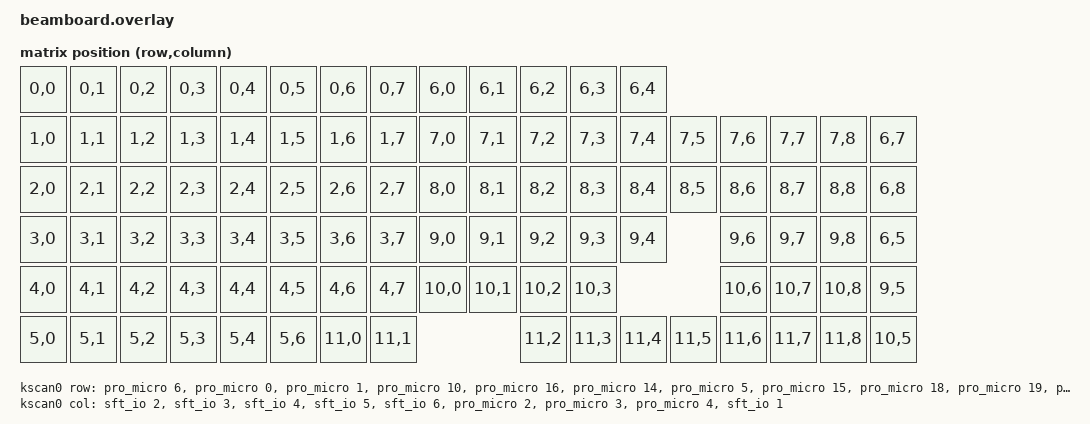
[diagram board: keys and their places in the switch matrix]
/*
 * Copyright (c) 2022 The ZMK Contributors
 *
 * SPDX-License-Identifier: MIT
 */

#include <dt-bindings/zmk/matrix_transform.h>
#include <dt-bindings/zmk/bt.h>

#include "beamboard.dtsi"

&spi0 {
    status = "okay";

    cs-gpios = <&pro_micro 7 GPIO_ACTIVE_LOW>, <&gpio1 7 GPIO_ACTIVE_HIGH>;
    pinctrl-0 = <&spi0_default>;
    pinctrl-1 = <&spi0_sleep>;
    pinctrl-names = "default", "sleep";

    sft_io: 595@0 {
        compatible = "zmk,gpio-595";
        status = "okay";
        gpio-controller;
        spi-max-frequency = <200000>;
        reg = <0>;
        label = "74HC595";
        #gpio-cells = <2>;
        ngpios = <8>;
    };

    ls0xx: ls0xx@1 {
		compatible = "sharp,ls0xx";
		label = "DISPLAY";
		spi-max-frequency = <2000000>;
		reg = <1>;
		width = <160>;
		height = <68>;
	};

};

&default_encoder {
    status = "okay";
};

&pinctrl {
    spi0_default: spi0_default {
        group1 {
            psels = <NRF_PSEL(SPIM_SCK, 1, 1)>,
                    <NRF_PSEL(SPIM_MOSI, 1, 2)>,
                    <NRF_PSEL(SPIM_MISO, 0, 25)>;
        };
    };

    spi0_sleep: spi0_sleep {
        group1 {
            psels = <NRF_PSEL(SPIM_SCK, 1, 1)>,
                    <NRF_PSEL(SPIM_MOSI, 1, 2)>,
                    <NRF_PSEL(SPIM_MISO, 0, 25)>;
            low-power-enable;
        };
    };

    qdec_default: qdec_default {
        group1 {
            psels = <NRF_PSEL(QDEC_A, 1, 11)>,
                    <NRF_PSEL(QDEC_B, 1, 10)>;
            bias-pull-up;
        };
    };
};

/ {
    chosen {
        zmk,kscan = &kscan0;
        zmk,matrix_transform = &default_transform;
        zephyr,display = &ls0xx;
    };

    default_transform: keymap_transform_0 {
        compatible = "zmk,matrix-transform";
        columns = <9>;
        rows = <12>;
        map = <
        RC(0,0)   RC(0,1)   RC(0,2)   RC(0,3)   RC(0,4)   RC(0,5)   RC(0,6)   RC(0,7)   RC(6,0)   RC(6,1)   RC(6,2)   RC(6,3)   RC(6,4)
        RC(1,0)   RC(1,1)   RC(1,2)   RC(1,3)   RC(1,4)   RC(1,5)   RC(1,6)   RC(1,7)   RC(7,0)   RC(7,1)   RC(7,2)   RC(7,3)   RC(7,4)   RC(7,5)   RC(7,6)   RC(7,7)   RC(7,8)   RC(6,7)
        RC(2,0)   RC(2,1)   RC(2,2)   RC(2,3)   RC(2,4)   RC(2,5)   RC(2,6)   RC(2,7)   RC(8,0)   RC(8,1)   RC(8,2)   RC(8,3)   RC(8,4)   RC(8,5)   RC(8,6)   RC(8,7)   RC(8,8)   RC(6,8)
        RC(3,0)   RC(3,1)   RC(3,2)   RC(3,3)   RC(3,4)   RC(3,5)   RC(3,6)   RC(3,7)   RC(9,0)   RC(9,1)   RC(9,2)   RC(9,3)   RC(9,4)             RC(9,6)   RC(9,7)   RC(9,8)   RC(6,5)
        RC(4,0)   RC(4,1)   RC(4,2)   RC(4,3)   RC(4,4)   RC(4,5)   RC(4,6)   RC(4,7)   RC(10,0)  RC(10,1)  RC(10,2)  RC(10,3)                      RC(10,6)  RC(10,7)  RC(10,8)  RC(9,5)
        RC(5,0)   RC(5,1)   RC(5,2)   RC(5,3)       RC(5,4)             RC(5,6)         RC(11,0)  RC(11,1)  RC(11,2)  RC(11,3)  RC(11,4)  RC(11,5)  RC(11,6)  RC(11,7)  RC(11,8)  RC(10,5)
        >;
    };

    kscan0: kscan_0 {
        compatible = "zmk,kscan-gpio-matrix";
        label = "KSCAN";

        //debounce-press-ms = <1>;
        //debounce-release-ms = <5>;

        diode-direction = "col2row";

        col-gpios                             // col #
            = <&sft_io    2 GPIO_ACTIVE_HIGH> // 0
            , <&sft_io    3 GPIO_ACTIVE_HIGH> // 1
            , <&sft_io    4 GPIO_ACTIVE_HIGH> // 2
            , <&sft_io    5 GPIO_ACTIVE_HIGH> // 3
            , <&sft_io    6 GPIO_ACTIVE_HIGH> // 4 P1.07/gpio1
            , <&pro_micro 2 GPIO_ACTIVE_HIGH> // 5
            , <&pro_micro 3 GPIO_ACTIVE_HIGH> // 6 MCP P5
            , <&pro_micro 4 GPIO_ACTIVE_HIGH> // 7 MCP P2
            , <&sft_io    1 GPIO_ACTIVE_HIGH> // 8 MCP P1
            ;

        row-gpios                                                 // row #
            = <&pro_micro  6 (GPIO_ACTIVE_HIGH | GPIO_PULL_DOWN)> // 0
            , <&pro_micro  0 (GPIO_ACTIVE_HIGH | GPIO_PULL_DOWN)> // 1
            , <&pro_micro  1 (GPIO_ACTIVE_HIGH | GPIO_PULL_DOWN)> // 2
            , <&pro_micro 10 (GPIO_ACTIVE_HIGH | GPIO_PULL_DOWN)> // 3
            , <&pro_micro 16 (GPIO_ACTIVE_HIGH | GPIO_PULL_DOWN)> // 4
            , <&pro_micro 14 (GPIO_ACTIVE_HIGH | GPIO_PULL_DOWN)> // 5
            , <&pro_micro  5 (GPIO_ACTIVE_HIGH | GPIO_PULL_DOWN)> // 6 MCP P0
            , <&pro_micro 15 (GPIO_ACTIVE_HIGH | GPIO_PULL_DOWN)> // 7
            , <&pro_micro 18 (GPIO_ACTIVE_HIGH | GPIO_PULL_DOWN)> // 8
            , <&pro_micro 19 (GPIO_ACTIVE_HIGH | GPIO_PULL_DOWN)> // 9
            , <&pro_micro 20 (GPIO_ACTIVE_HIGH | GPIO_PULL_DOWN)> // 10
            , <&pro_micro 21 (GPIO_ACTIVE_HIGH | GPIO_PULL_DOWN)> // 11
            ;
    };
};

